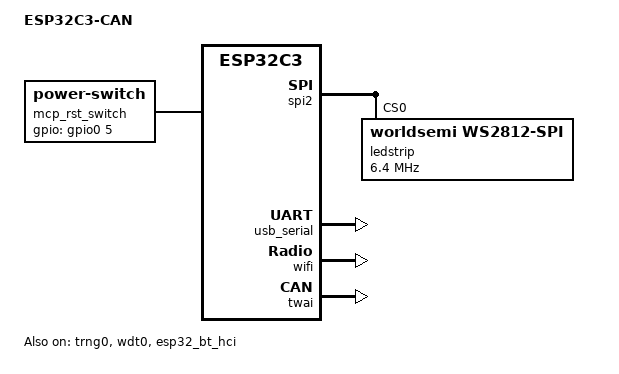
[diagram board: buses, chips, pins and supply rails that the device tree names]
/*
 * Copyright (c) 2024 Arrel Neumiller
 * SPDX-License-Identifier: Apache-2.0
 */

/dts-v1/;

#include <espressif/esp32c3/esp32c3_fx4.dtsi>
#include "esp32c3_can-pinctrl.dtsi"
#include <zephyr/dt-bindings/input/input-event-codes.h>
#include <zephyr/dt-bindings/led/led.h>
#include <espressif/partitions_0x0_default.dtsi>

/ {
	model = "ESP32C3-CAN";
	compatible = "espressif,esp32c3_supermini";

	chosen {
		zephyr,sram = &sram1;
		zephyr,console = &usb_serial;
		zephyr,shell-uart = &usb_serial;
		zephyr,flash = &flash0;
		zephyr,code-partition = &slot0_partition;
		zephyr,canbus = &twai;
	};

	aliases {
		// led0 = &blue_led_0;
//		sw0 = &user_button1;
		i2c-0 = &i2c0;
		watchdog0 = &wdt0;
		ledstrip = &ledstrip;
	};

	mcp_rst_switch: mcp_rst_switch {
		compatible = "power-switch";
		gpios = <&gpio0 5 GPIO_ACTIVE_HIGH>;
	};

	// gpio_keys {
	// 	compatible = "gpio-keys";

	// 	user_button1: button_1 {
	// 		label = "User SW1";
	// 		gpios = <&gpio0 9 (GPIO_PULL_UP | GPIO_ACTIVE_LOW)>;
	// 		zephyr,code = <INPUT_KEY_0>;
	// 	};
	// };

	// leds {
	// 	compatible = "gpio-leds";

	// 	blue_led_0: led_0 {
	// 		gpios = <&gpio0 8 GPIO_ACTIVE_LOW>;
	// 		label = "Blue LED 0";
	// 	};
	// };
};

&spi2 {
	#address-cells = <1>;
	#size-cells = <0>;
	status = "okay";
	pinctrl-0 = <&spim2_default>;
	pinctrl-names = "default";


	line-idle-low;
	ledstrip: ws2812@0 {
		compatible = "worldsemi,ws2812-spi";

		/* SPI */
		reg = <0>; /* ignored, but necessary for SPI bindings */
		spi-max-frequency = <6400000>;

		/* WS2812 */
		chain-length = <1>; /* arbitrary; change at will */
		spi-cpha;
		spi-one-frame = <0xf0>; /* 11110000: 625 ns high and 625 ns low */
		spi-zero-frame = <0xc0>; /* 11000000: 312.5 ns high and 937.5 ns low */
		color-mapping = <LED_COLOR_ID_RED 
				 LED_COLOR_ID_GREEN
				 LED_COLOR_ID_BLUE>;
	};

};

&usb_serial {
	status = "okay";
};

&i2c0 {
	status = "disabled";
};

&trng0 {
	status = "okay";
};

&gpio0 {
	status = "okay";
};

&wdt0 {
	status = "okay";
};

&uart0 {
	status = "disabled";
};

&esp32_bt_hci {
	status = "okay";
};

&wifi {
	status = "okay";
};

&twai {
	pinctrl-0 = <&twai_default>;
	pinctrl-names = "default";
	status = "okay";
};
